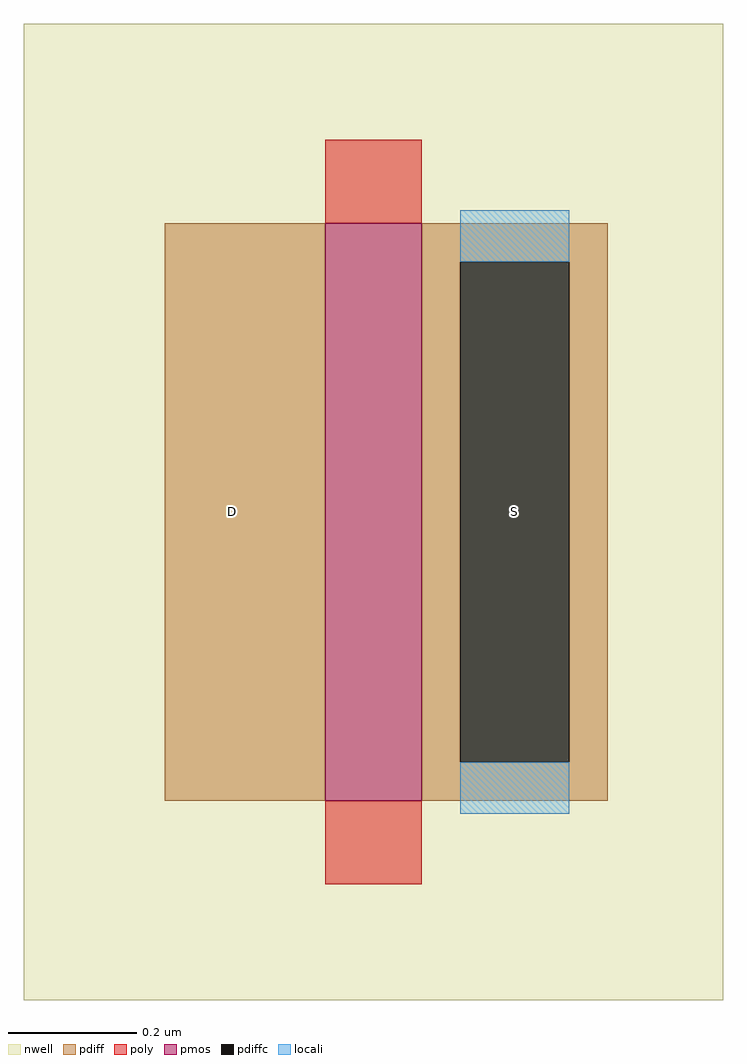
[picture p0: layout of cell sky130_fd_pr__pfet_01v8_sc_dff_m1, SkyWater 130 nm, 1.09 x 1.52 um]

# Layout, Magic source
magic
tech sky130A
magscale 1 2
<< nwell >>
rect -109 -152 109 152
<< pmos >>
rect -15 -90 15 90
<< pdiff >>
rect -65 -90 -15 90
rect 15 78 73 90
rect 15 -78 27 78
rect 61 -78 73 78
rect 15 -90 73 -78
<< pdiffc >>
rect 27 -78 61 78
<< poly >>
rect -15 90 15 116
rect -15 -116 15 -90
<< locali >>
rect 27 78 61 94
rect 27 -94 61 -78
<< labels >>
rlabel pdiff -44 0 -44 0 0 D
port 1 nsew
rlabel pdiffc 44 0 44 0 0 S
port 2 nsew
<< end >>
